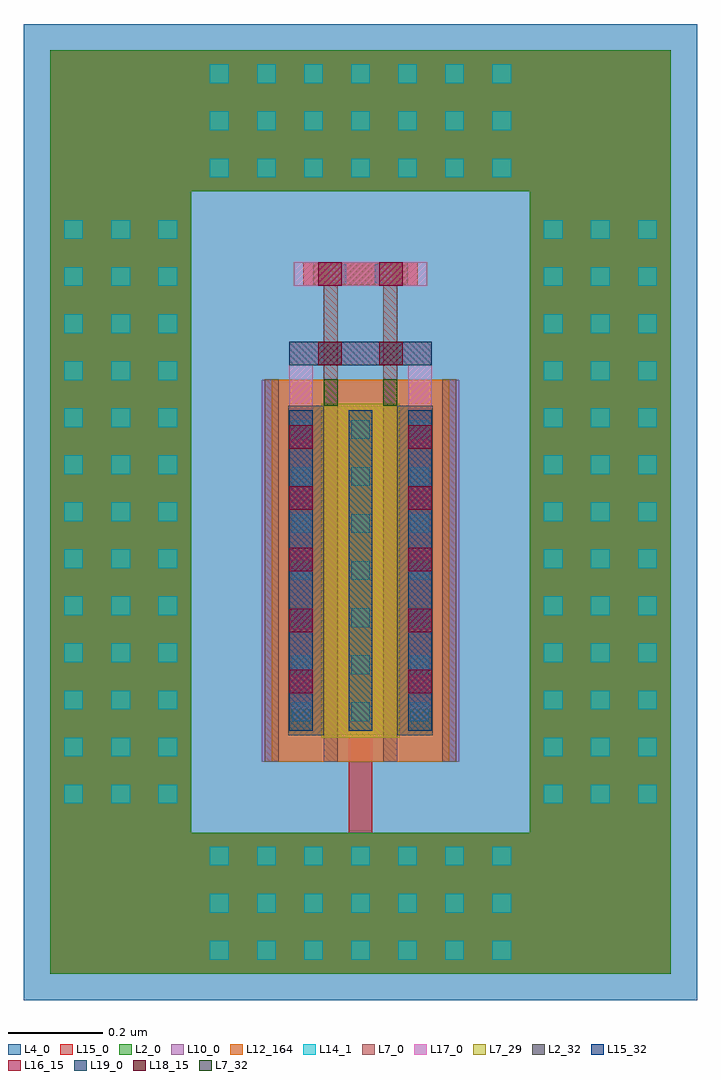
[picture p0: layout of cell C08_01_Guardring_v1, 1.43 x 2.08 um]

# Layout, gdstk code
import gdstk
lib = gdstk.Library(unit=1e-6, precision=1e-09)
def R(c, l, rs):  # rectangles x0, y0, x1, y1
    for r in rs: c.add(gdstk.rectangle(r[:2], r[2:], *l))
def A(c, l, x, y, w, h, nx, ny, dx, dy):  # array of equal rectangles
    R(c, l, [(x+i*dx, y+j*dy, x+i*dx+w, y+j*dy+h) for i in range(nx) for j in range(ny)])
L2_0 = (2, 0)
L2_32 = (2, 32)
L4_0 = (4, 0)
L7_0 = (7, 0)
L7_29 = (7, 29)
L7_32 = (7, 32)
L10_0 = (10, 0)
L12_164 = (12, 164)
L14_1 = (14, 1)
L15_0 = (15, 0)
L15_32 = (15, 32)
L16_15 = (16, 15)
L17_0 = (17, 0)
L18_15 = (18, 15)
L19_0 = (19, 0)

c08_01_guardring_v1_srf_ = lib.new_cell('C08_01_Guardring_v1:SRF_Tr11:SRF_Pmos:SRF_Source_ViaM1M2:SRF_ViaM1M2')
R(c08_01_guardring_v1_srf_, L15_0, [(0,-0.552,0.05,0.082)])
A(c08_01_guardring_v1_srf_, L16_15, 0, -0.52, 0.05, 0.05, 1, 5, 0, 0.13)
R(c08_01_guardring_v1_srf_, L17_0, [(0,-0.552,0.05,0.082)])

c_c08_01_guardring_v1_srf_ = lib.new_cell('C08_01_Guardring_v1:SRF_Tr11:SRF_Pmos:SRF_Source_ViaM1M2')
c_c08_01_guardring_v1_srf_.add(gdstk.Reference(c08_01_guardring_v1_srf_, (-0.025,0.235)))

c_c08_01_guardring_v1_srf__ = lib.new_cell('C08_01_Guardring_v1:SRF_Tr11:SRF_Pmos:SRF_Gate_ViaM0Mx:SRF_ViaM0M1')
R(c_c08_01_guardring_v1_srf__, L7_0, [(-0.01,-0.004,0.15,0.044)])
R(c_c08_01_guardring_v1_srf__, L14_1, [(0,0,0.04,0.04), (0.1,0,0.14,0.04)])
R(c_c08_01_guardring_v1_srf__, L15_0, [(-0.021,-0.005,0.161,0.045)])

c_c08_01_guardring_v1_srf___ = lib.new_cell('C08_01_Guardring_v1:SRF_Tr11:SRF_Pmos:SRF_Gate_ViaM0Mx:SRF_ViaM1M2')
R(c_c08_01_guardring_v1_srf___, L15_0, [(-0.032,0,0.212,0.05)])
R(c_c08_01_guardring_v1_srf___, L16_15, [(0,0,0.05,0.05), (0.13,0,0.18,0.05)])
R(c_c08_01_guardring_v1_srf___, L17_0, [(-0.032,0,0.212,0.05)])

c_c08_01_guardring_v1_srf____ = lib.new_cell('C08_01_Guardring_v1:SRF_Tr11:SRF_Pmos:SRF_Gate_ViaM0Mx')
c_c08_01_guardring_v1_srf____.add(gdstk.Reference(c_c08_01_guardring_v1_srf__, (-0.07,-0.02)))
c_c08_01_guardring_v1_srf____.add(gdstk.Reference(c_c08_01_guardring_v1_srf___, (-0.09,-0.025)))

c_c08_01_guardring_v1_srf_____ = lib.new_cell('C08_01_Guardring_v1:SRF_Tr11:SRF_Pmos')
R(c_c08_01_guardring_v1_srf_____, L2_0, [(-0.076,0.057,0.232,0.757)])
R(c_c08_01_guardring_v1_srf_____, L2_32, [(-0.076,0.057,0,0.757), (0.156,0.057,0.232,0.757)])
A(c_c08_01_guardring_v1_srf_____, L7_0, -0.126, 0, 0.03, 0.814, 4, 1, 0.126, 0)
R(c_c08_01_guardring_v1_srf_____, L7_0, [(0,0.814,0.03,1.014), (0.126,0.814,0.156,1.014), (-0.022,1.014,0.178,1.062)])
R(c_c08_01_guardring_v1_srf_____, L7_29, [(-0.005,0.052,0.161,0.762)])
R(c_c08_01_guardring_v1_srf_____, L7_32, [(0,0.757,0.03,0.814), (0.126,0.757,0.156,0.814)])
R(c_c08_01_guardring_v1_srf_____, L10_0, [(-0.132,0.001,0.288,0.813)])
R(c_c08_01_guardring_v1_srf_____, L12_164, [(-0.111,0.001,0.267,0.813)])
A(c_c08_01_guardring_v1_srf_____, L14_1, -0.068, 0.087, 0.04, 0.04, 3, 7, 0.126, 0.1)
R(c_c08_01_guardring_v1_srf_____, L15_0, [(-0.073,0.066,-0.023,0.748), (-0.073,0.066,-0.023,0.748), (0.053,0.066,0.103,0.748), (0.053,0.066,0.103,0.748), (0.179,0.066,0.229,0.748), (0.179,0.066,0.229,0.748)])
A(c_c08_01_guardring_v1_srf_____, L15_32, -0.073, 0.066, 0.05, 0.682, 3, 1, 0.126, 0)
R(c_c08_01_guardring_v1_srf_____, L17_0, [(-0.073,0.748,-0.023,0.843), (0.179,0.748,0.229,0.843), (-0.073,0.843,0.229,0.893), (-0.064,1.013,0.22,1.063)])
c_c08_01_guardring_v1_srf_____.add(gdstk.Reference(c_c08_01_guardring_v1_srf_, (-0.048,0.431)))
c_c08_01_guardring_v1_srf_____.add(gdstk.Reference(c_c08_01_guardring_v1_srf_, (0.204,0.431)))
c_c08_01_guardring_v1_srf_____.add(gdstk.Reference(c_c08_01_guardring_v1_srf____, (0.078,1.038)))

c_c08_01_guardring_v1_srf______ = lib.new_cell('C08_01_Guardring_v1:SRF_Tr11:SRF_Source_ViaM2M3:SRF_ViaM2M3')
R(c_c08_01_guardring_v1_srf______, L17_0, [(-0.032,0,0.212,0.05)])
R(c_c08_01_guardring_v1_srf______, L18_15, [(0,0,0.05,0.05), (0.13,0,0.18,0.05)])
R(c_c08_01_guardring_v1_srf______, L19_0, [(-0.032,0,0.212,0.05)])

c_c08_01_guardring_v1_srf_______ = lib.new_cell('C08_01_Guardring_v1:SRF_Tr11:SRF_Source_ViaM2M3')
c_c08_01_guardring_v1_srf_______.add(gdstk.Reference(c_c08_01_guardring_v1_srf______, (-0.09,-0.025)))

c_c08_01_guardring_v1_srf________ = lib.new_cell('C08_01_Guardring_v1:SRF_Tr11')
R(c_c08_01_guardring_v1_srf________, L19_0, [(-0.073,0.843,0.229,0.893)])
c_c08_01_guardring_v1_srf________.add(gdstk.Reference(c_c08_01_guardring_v1_srf_____, (0,0)))
c_c08_01_guardring_v1_srf________.add(gdstk.Reference(c_c08_01_guardring_v1_srf_______, (0.078,0.868)))

c08_01_guardring_v1__nbo = lib.new_cell('C08_01_Guardring_v1:_Nbodyring:SRF_NbodyTop:SRF_NbodyContactPhyLen')
R(c08_01_guardring_v1__nbo, L2_0, [(-0.04,-0.23,0.68,0.07)])
R(c08_01_guardring_v1__nbo, L4_0, [(-0.096,-0.286,0.736,0.126)])
A(c08_01_guardring_v1__nbo, L14_1, 0, -0.2, 0.04, 0.04, 7, 3, 0.1, 0.1)
R(c08_01_guardring_v1__nbo, L15_0, [(-0.04,-0.23,0.68,0.07)])

c_c08_01_guardring_v1__nbo = lib.new_cell('C08_01_Guardring_v1:_Nbodyring:SRF_NbodyTop')
c_c08_01_guardring_v1__nbo.add(gdstk.Reference(c08_01_guardring_v1__nbo, (0,0)))

c_c08_01_guardring_v1__nbo_ = lib.new_cell('C08_01_Guardring_v1:_Nbodyring:SRF_NbodyBottom:SRF_NbodyContactPhyLen')
R(c_c08_01_guardring_v1__nbo_, L2_0, [(-0.04,-0.23,0.68,0.07)])
R(c_c08_01_guardring_v1__nbo_, L4_0, [(-0.096,-0.286,0.736,0.126)])
A(c_c08_01_guardring_v1__nbo_, L14_1, 0, -0.2, 0.04, 0.04, 7, 3, 0.1, 0.1)
R(c_c08_01_guardring_v1__nbo_, L15_0, [(-0.04,-0.23,0.68,0.07)])

c_c08_01_guardring_v1__nbo__ = lib.new_cell('C08_01_Guardring_v1:_Nbodyring:SRF_NbodyBottom')
c_c08_01_guardring_v1__nbo__.add(gdstk.Reference(c_c08_01_guardring_v1__nbo_, (0,0)))

c_c08_01_guardring_v1__nbo___ = lib.new_cell('C08_01_Guardring_v1:_Nbodyring:SRF_NbodyLeft:SRF_NbodyContactPhyLen')
R(c_c08_01_guardring_v1__nbo___, L2_0, [(-0.03,-1.262,0.27,0.101)])
R(c_c08_01_guardring_v1__nbo___, L4_0, [(-0.086,-1.318,0.326,0.157)])
A(c_c08_01_guardring_v1__nbo___, L14_1, 0, -1.2, 0.04, 0.04, 3, 13, 0.1, 0.1)
R(c_c08_01_guardring_v1__nbo___, L15_0, [(-0.03,-1.262,0.27,0.101)])

c_c08_01_guardring_v1__nbo____ = lib.new_cell('C08_01_Guardring_v1:_Nbodyring:SRF_NbodyLeft')
c_c08_01_guardring_v1__nbo____.add(gdstk.Reference(c_c08_01_guardring_v1__nbo___, (0,0)))

c_c08_01_guardring_v1__nbo_____ = lib.new_cell('C08_01_Guardring_v1:_Nbodyring:SRF_NbodyRight:SRF_NbodyContactPhyLen')
R(c_c08_01_guardring_v1__nbo_____, L2_0, [(-0.03,-1.262,0.27,0.101)])
R(c_c08_01_guardring_v1__nbo_____, L4_0, [(-0.086,-1.318,0.326,0.157)])
A(c_c08_01_guardring_v1__nbo_____, L14_1, 0, -1.2, 0.04, 0.04, 3, 13, 0.1, 0.1)
R(c_c08_01_guardring_v1__nbo_____, L15_0, [(-0.03,-1.262,0.27,0.101)])

c_c08_01_guardring_v1__nbo______ = lib.new_cell('C08_01_Guardring_v1:_Nbodyring:SRF_NbodyRight')
c_c08_01_guardring_v1__nbo______.add(gdstk.Reference(c_c08_01_guardring_v1__nbo_____, (0,0)))

c_c08_01_guardring_v1__nbo_______ = lib.new_cell('C08_01_Guardring_v1:_Nbodyring')
R(c_c08_01_guardring_v1__nbo_______, L2_0, [(-0.34,-1.893,0.98,-1.593), (-0.34,-1.893,-0.04,0.07), (0.68,-1.893,0.98,0.07), (-0.34,-0.23,0.98,0.07)])
R(c_c08_01_guardring_v1__nbo_______, L4_0, [(-0.396,-1.949,1.036,-1.537), (-0.396,-1.949,0.016,0.126), (0.624,-1.949,1.036,0.126), (-0.396,-0.286,1.036,0.126)])
R(c_c08_01_guardring_v1__nbo_______, L15_0, [(-0.34,-1.893,0.98,-1.593), (-0.34,-1.893,-0.04,0.07), (0.68,-1.893,0.98,0.07), (-0.34,-0.23,0.98,0.07)])
c_c08_01_guardring_v1__nbo_______.add(gdstk.Reference(c_c08_01_guardring_v1__nbo, (0,0)))
c_c08_01_guardring_v1__nbo_______.add(gdstk.Reference(c_c08_01_guardring_v1__nbo__, (0,-1.663)))
c_c08_01_guardring_v1__nbo_______.add(gdstk.Reference(c_c08_01_guardring_v1__nbo____, (-0.31,-0.331)))
c_c08_01_guardring_v1__nbo_______.add(gdstk.Reference(c_c08_01_guardring_v1__nbo______, (0.71,-0.331)))

c08_01_guardring_v1 = lib.new_cell('C08_01_Guardring_v1')
R(c08_01_guardring_v1, L4_0, [(-0.638,-0.506,0.794,1.569)])
R(c08_01_guardring_v1, L15_0, [(0.053,-0.15,0.103,0.066)])
c08_01_guardring_v1.add(gdstk.Reference(c_c08_01_guardring_v1_srf________, (0,0)))
c08_01_guardring_v1.add(gdstk.Reference(c_c08_01_guardring_v1__nbo_______, (-0.242,1.443)))

lib.write_gds('C08_01_Guardring_v1.gds')
